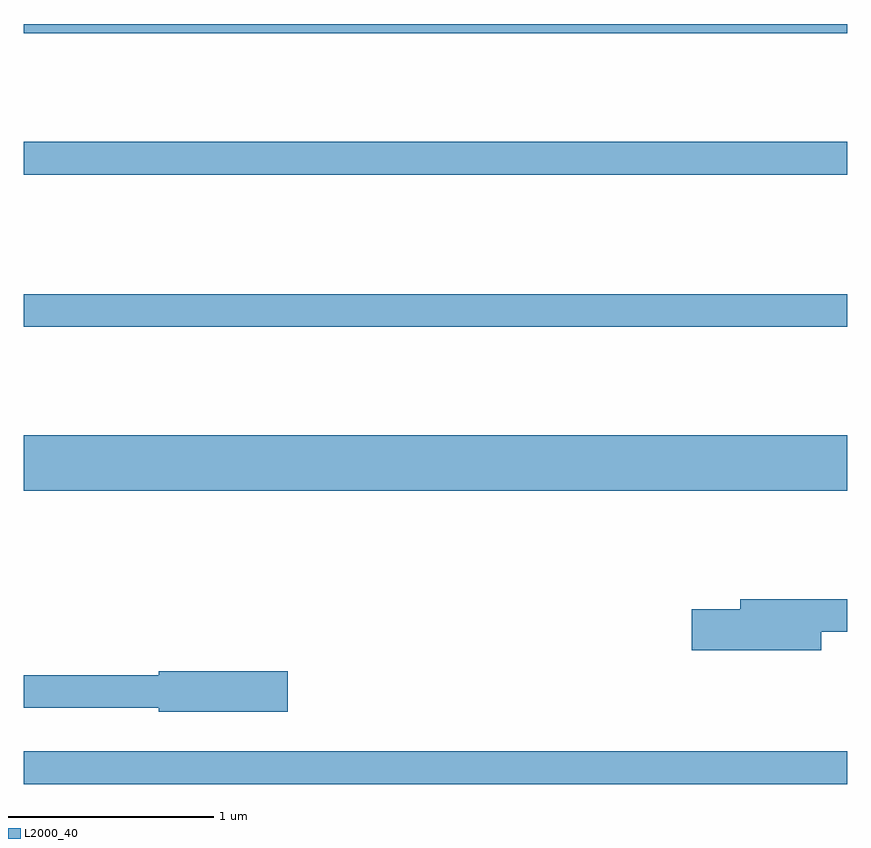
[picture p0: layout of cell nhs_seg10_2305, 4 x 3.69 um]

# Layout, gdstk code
import gdstk
lib = gdstk.Library(unit=1e-6, precision=1e-09)
def R(c, l, rs):  # rectangles x0, y0, x1, y1
    for r in rs: c.add(gdstk.rectangle(r[:2], r[2:], *l))
def P(c, l, *ps):  # polygons
    for p in ps: c.add(gdstk.Polygon(p, *l))
L2000_40 = (2000, 40)

nhs_seg10_2305 = lib.new_cell('nhs_seg10_2305')
R(nhs_seg10_2305, L2000_40, [(251.611,2216.831,255.611,2216.989), (251.611,2218.256,255.611,2218.524), (251.611,2219.051,255.611,2219.209), (251.611,2219.791,255.611,2219.949), (251.611,2220.476,255.611,2220.522)])
P(nhs_seg10_2305, L2000_40, [(255.484,2217.571),(255.611,2217.571),(255.611,2217.729),(255.091,2217.729),(255.091,2217.679),(254.856,2217.679),(254.856,2217.481),(255.484,2217.481)],
  [(252.894,2217.379),(252.266,2217.379),(252.266,2217.359),(251.611,2217.359),(251.611,2217.201),(252.266,2217.201),(252.266,2217.181),(252.894,2217.181)])

lib.write_gds('nhs_seg10_2305.gds')
